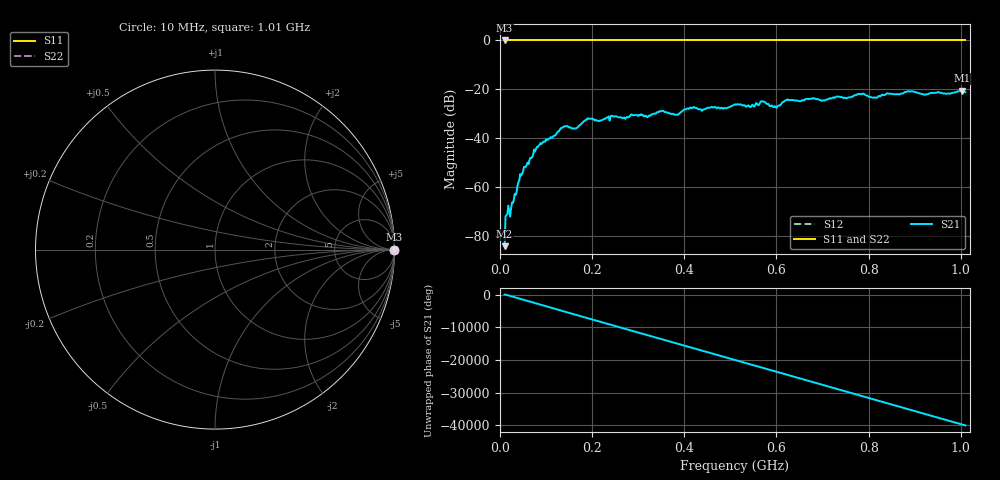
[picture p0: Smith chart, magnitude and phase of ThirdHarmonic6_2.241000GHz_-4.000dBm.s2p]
! 8/17/2025 2:37:18 AM
! C:\ANRITSUVNA\TEMP\TEMP.S2P
! CHANNEL.1
! TR.MEASUREMENT
! RAW.DATA
! RF.CORRECTION.OFF
! AVERAGING.OFF
! IF.BANDWIDTH: 5KHZ
! SWEEPTYPE:  FREQ.SWEEP(Linear)
! Reference Plane Port Info
! PORT:  PORT1  PORT2
! DISTANCE:  0  m  0  m
! TIME:  0  s  0  s
! PHASE.OFFSET:  0  deg.  0  deg.
! LOSS:  0  dB  0  dB
! REF.LOSS:  0  dB  0  dB
! REF.FREQ:  0  Hz  0  Hz
! Power Info
! POWER:  -20  dBm  -20  dBm
! EFF.POWER:  -20  dBm  -20  dBm
! SOURCE.ATTEN:  0  dB  0  dB
! TEST.ATTEN:  0  dB  0  dB
# GHZ S RI R 50.0
! FREQ.GHZ  S11RE  S11IM  S21RE  S21IM  S12RE  S12IM  S22RE  S22IM
!; PortSelection: Port_12
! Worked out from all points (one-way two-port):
!   501 points, 10 MHz to 1.01 GHz, reference 50 ohm
!   highest |S21| = -20.49 dB at 1.002 GHz (marker M1); lowest = -84.2 dB at 10 MHz (marker M2)
!   lowest |S11| = 0.0 dB at 10 MHz (marker M3)
!   |S11| at or under -10 dB: nowhere
!   |S22| runs from 0.0 to 0.0 dB; largest |S21 - S12| = 1.1
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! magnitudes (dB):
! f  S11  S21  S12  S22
! 10 MHz  0.0  -84.2  0.0  0.0
! 16 MHz  0.0  -71.1  0.0  0.0
! 26 MHz  0.0  -66.4  0.0  0.0
! 48 MHz  0.0  -54.6  0.0  0.0
! 78 MHz  0.0  -44.5  0.0  0.0
! 136 MHz  0.0  -35.6  0.0  0.0
! 162 MHz  0.0  -36.1  0.0  0.0
! 178 MHz  0.0  -33.8  0.0  0.0
! 194 MHz  0.0  -32.0  0.0  0.0
! 322 MHz  0.0  -31.0  0.0  0.0
! 344 MHz  0.0  -29.4  0.0  0.0
! 382 MHz  0.0  -30.4  0.0  0.0
! 416 MHz  0.0  -27.7  0.0  0.0
! 510 MHz  0.0  -26.2  0.0  0.0
! 548 MHz  0.0  -26.3  0.0  0.0
! 570 MHz  0.0  -25.0  0.0  0.0
! 598 MHz  0.0  -27.2  0.0  0.0
! 622 MHz  0.0  -24.4  0.0  0.0
! 678 MHz  0.0  -23.7  0.0  0.0
! 844 MHz  0.0  -21.8  0.0  0.0
! 1.002 GHz  0.0  -20.5  0.0  0.0
! 1.01 GHz  0.0  -21.2  0.0  0.0
